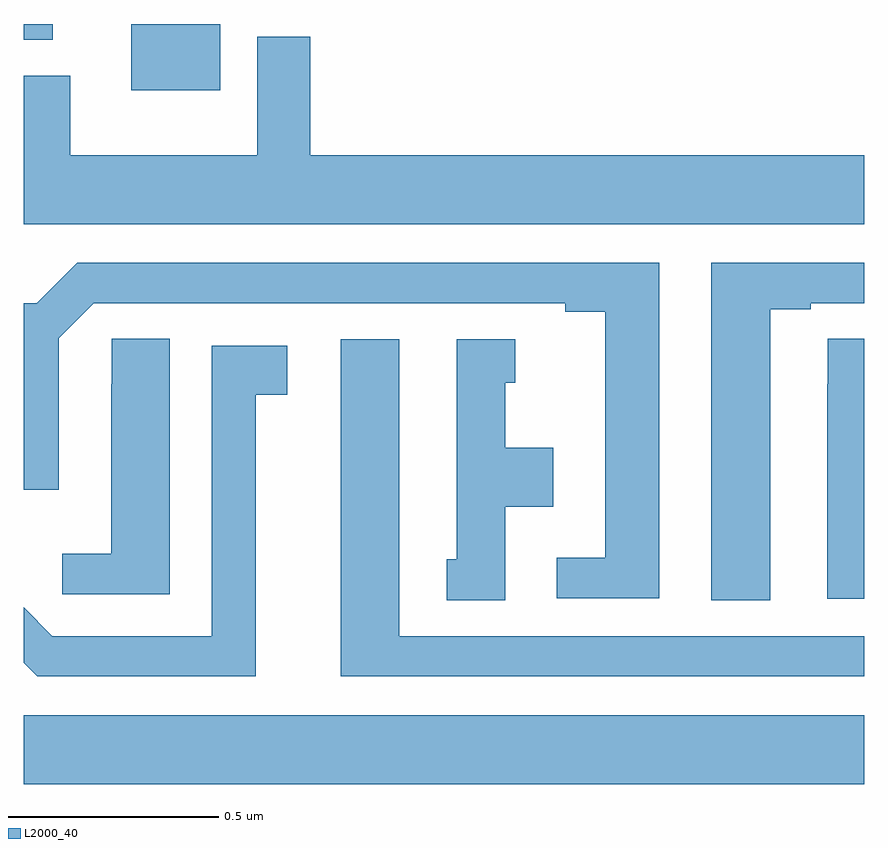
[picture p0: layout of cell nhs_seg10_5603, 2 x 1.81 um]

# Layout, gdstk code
import gdstk
lib = gdstk.Library(unit=1e-6, precision=1e-09)
def R(c, l, rs):  # rectangles x0, y0, x1, y1
    for r in rs: c.add(gdstk.rectangle(r[:2], r[2:], *l))
def P(c, l, *ps):  # polygons
    for p in ps: c.add(gdstk.Polygon(p, *l))
L2000_40 = (2000, 40)

nhs_seg10_5603 = lib.new_cell('nhs_seg10_5603')
R(nhs_seg10_5603, L2000_40, [(181,1257.692,183,1257.856), (181.256,1259.342,181.468,1259.5), (181,1259.462,181.069,1259.5)])
P(nhs_seg10_5603, L2000_40, [(183,1259.188),(181.682,1259.188),(181.682,1259.47),(181.556,1259.47),(181.556,1259.188),(181.111,1259.188),(181.111,1259.377),(181,1259.377),(181,1259.024),(183,1259.024)],
  [(182.512,1258.932),(181.127,1258.932),(181.031,1258.836),(181,1258.836),(181,1258.392),(181.083,1258.392),(181.083,1258.752),(181.167,1258.836),(182.288,1258.836),(182.288,1258.816),(182.384,1258.816),(182.384,1258.23),(182.268,1258.23),(182.268,1258.134),(182.512,1258.134)],
  [(182.776,1258.821),(182.872,1258.821),(182.872,1258.836),(183,1258.836),(183,1258.932),(182.636,1258.932),(182.636,1258.129),(182.776,1258.129)],
  [(183,1258.751),(182.913,1258.751),(182.913,1258.643),(182.912,1258.643),(182.912,1258.133),(183,1258.133)],
  [(181.348,1258.751),(181.209,1258.751),(181.209,1258.643),(181.208,1258.643),(181.208,1258.24),(181.092,1258.24),(181.092,1258.143),(181.348,1258.143)],
  [(182.146,1258.352),(182.26,1258.352),(182.26,1258.492),(182.146,1258.492),(182.146,1258.647),(182.17,1258.647),(182.17,1258.75),(182.03,1258.75),(182.03,1258.227),(182.006,1258.227),(182.006,1258.129),(182.146,1258.129)],
  [(183,1258.044),(181.894,1258.044),(181.894,1258.75),(181.754,1258.75),(181.754,1257.948),(183,1257.948)],
  [(181.552,1258.618),(181.627,1258.618),(181.627,1258.734),(181.448,1258.734),(181.448,1258.044),(181.068,1258.044),(181,1258.112),(181,1257.98),(181.032,1257.948),(181.552,1257.948)])

lib.write_gds('nhs_seg10_5603.gds')
